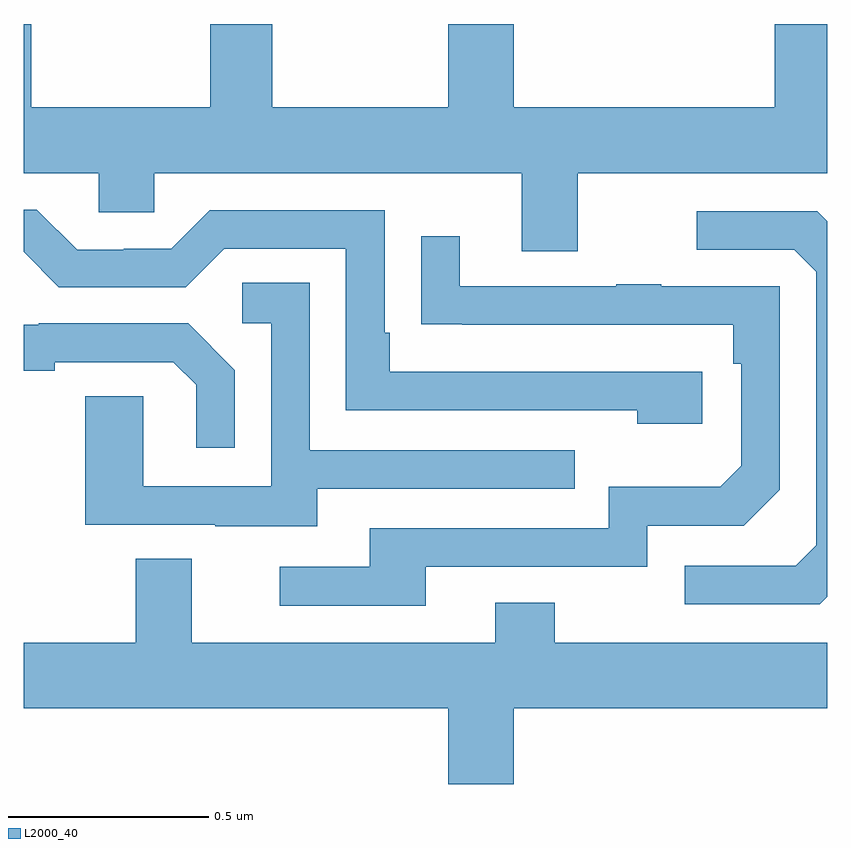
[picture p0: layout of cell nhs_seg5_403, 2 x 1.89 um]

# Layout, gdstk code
import gdstk
lib = gdstk.Library(unit=1e-6, precision=1e-09)
def P(c, l, *ps):  # polygons
    for p in ps: c.add(gdstk.Polygon(p, *l))
L2000_40 = (2000, 40)

nhs_seg5_403 = lib.new_cell('nhs_seg5_403')
P(nhs_seg5_403, L2000_40, [(117.379,855.428),(118,855.428),(118,855.799),(117.869,855.799),(117.869,855.592),(117.22,855.592),(117.22,855.799),(117.056,855.799),(117.056,855.592),(116.619,855.592),(116.619,855.799),(116.464,855.799),(116.464,855.592),(116.019,855.592),(116.019,855.799),(116,855.799),(116,855.428),(116.187,855.428),(116.187,855.33),(116.325,855.33),(116.325,855.428),(117.239,855.428),(117.239,855.234),(117.379,855.234)],
  [(117.688,854.934),(116.911,854.934),(116.911,855.031),(116.898,855.031),(116.898,855.336),(116.463,855.336),(116.367,855.24),(116.249,855.24),(116.249,855.237),(116.133,855.237),(116.033,855.337),(116,855.337),(116,855.232),(116.088,855.144),(116.403,855.144),(116.499,855.24),(116.802,855.24),(116.802,854.838),(117.527,854.838),(117.527,854.804),(117.688,854.804)],
  [(118,854.374),(118,855.308),(117.975,855.333),(117.675,855.333),(117.675,855.237),(117.918,855.237),(117.972,855.183),(117.972,854.502),(117.921,854.451),(117.645,854.451),(117.645,854.355),(117.981,854.355)],
  [(117.001,854.448),(117.552,854.448),(117.552,854.55),(117.792,854.55),(117.882,854.64),(117.882,855.147),(117.587,855.147),(117.587,855.152),(117.475,855.152),(117.475,855.147),(117.085,855.147),(117.085,855.271),(116.989,855.271),(116.989,855.052),(117.091,855.052),(117.091,855.051),(117.766,855.051),(117.766,854.954),(117.786,854.954),(117.786,854.7),(117.733,854.647),(117.456,854.647),(117.456,854.544),(116.861,854.544),(116.861,854.448),(116.637,854.448),(116.637,854.352),(117.001,854.352)],
  [(116.731,854.643),(117.371,854.643),(117.371,854.739),(116.712,854.739),(116.712,855.155),(116.544,855.155),(116.544,855.054),(116.616,855.054),(116.616,854.649),(116.298,854.649),(116.298,854.873),(116.153,854.873),(116.153,854.553),(116.477,854.553),(116.477,854.549),(116.731,854.549)],
  [(116.526,854.938),(116.41,855.054),(116.038,855.054),(116.038,855.051),(116,855.051),(116,854.936),(116.077,854.936),(116.077,854.958),(116.372,854.958),(116.429,854.901),(116.429,854.745),(116.526,854.745)],
  [(117.22,854.096),(118,854.096),(118,854.26),(117.321,854.26),(117.321,854.359),(117.173,854.359),(117.173,854.26),(116.419,854.26),(116.419,854.468),(116.279,854.468),(116.279,854.26),(116,854.26),(116,854.096),(117.056,854.096),(117.056,853.908),(117.22,853.908)])

lib.write_gds('nhs_seg5_403.gds')
